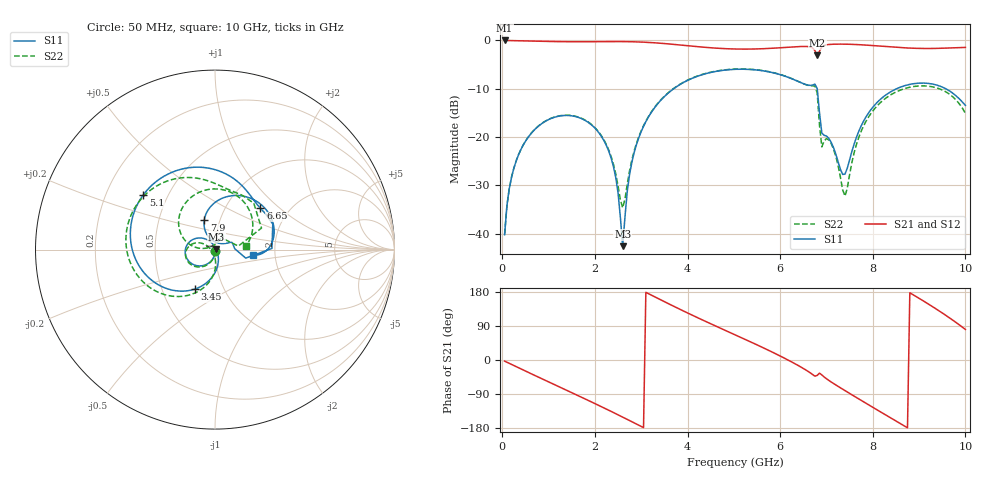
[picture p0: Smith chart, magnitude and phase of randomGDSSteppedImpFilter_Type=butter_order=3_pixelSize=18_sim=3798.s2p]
! freq	dB(S11)	phase(S11)	dB(S12)	phase(S12)
!  dB(S21)	phase(S21)	dB(S22)	phase(S22)
!S-par simulation data
#  GHz  S  DB  R 50
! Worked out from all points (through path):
!   200 points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, 50 MHz to 10 GHz, reference 50 ohm
!   highest |S21| = -0.02 dB at 50 MHz (marker M1); lowest = -3.1 dB at 6.8 GHz (marker M2)
!   group delay of S21, straight-line fit = 173 ps
!   lowest |S11| = -42.6 dB at 2.6 GHz (marker M3), VSWR 1.01, Z = 50.7 + j0.311 ohm
!   |S11| at or under -10 dB: start of sweep to 3.702 GHz; 6.8 GHz to 8.517 GHz (1.717 GHz wide, 22.4 % of centre); 9.573 GHz to end of sweep
!   |S22| runs from -40.2 to -5.9 dB; largest |S21 - S12| = 0
!   S11 on the Smith chart (normalised r, x): 50 MHz: 1.00, -0.02; 3.45 GHz: 0.73, -0.34; 5.1 GHz: 0.36, +0.30; 6.65 GHz: 1.45, +0.75; 7.9 GHz: 0.84, +0.29; 10 GHz: 1.53, -0.10
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0.05  -40.24 -86.8  -0.02 -3.0  -0.02 -3.0  -40.19 -86.8
0.2  -28.32 -97.8  -0.05 -11.7  -0.05 -11.7  -28.30 -96.8
0.55  -20.18 -121.1  -0.13 -32.0  -0.13 -32.0  -20.14 -118.5
1.75  -16.37 165.5  -0.29 -100.5  -0.29 -100.5  -16.31 176.4
2.35  -24.36 124.6  -0.25 -135.6  -0.25 -135.6  -24.04 153.1
2.6  -42.61 24.5  -0.25 -150.7  -0.25 -150.7  -34.67 -147.2
2.85  -23.13 -74.6  -0.30 -166.1  -0.30 -166.1  -22.81 -87.4
3.4  -12.64 -114.0  -0.58 160.0  -0.58 160.0  -12.56 -109.1
3.45  -12.12 -117.2  -0.62 157.0  -0.62 157.0  -12.05 -111.8
4.2  -7.48 -164.3  -1.29 112.6  -1.29 112.6  -7.42 -151.5
5.05  -5.99 145.6  -1.79 65.2  -1.79 65.2  -5.94 165.4
5.1  -5.98 142.7  -1.80 62.4  -1.80 62.4  -5.92 162.9
6  -7.09 88.3  -1.53 10.6  -1.53 10.6  -7.06 115.9
6.65  -9.32 42.3  -1.37 -33.9  -1.37 -33.9  -9.40 71.3
6.7  -9.24 35.5  -1.57 -38.4  -1.57 -38.4  -9.41 63.5
6.8  -9.97 1.2  -3.13 -40.7  -3.13 -40.7  -10.89 24.8
6.9  -19.17 2.7  -1.34 -39.3  -1.34 -39.3  -22.05 45.3
7.4  -27.68 82.3  -0.78 -80.8  -0.78 -80.8  -32.24 120.7
7.9  -15.15 110.1  -1.01 -117.6  -1.01 -117.6  -16.00 166.0
8.35  -10.86 82.8  -1.33 -150.1  -1.33 -150.1  -11.50 139.2
9.15  -8.87 30.9  -1.68 151.5  -1.68 151.5  -9.44 84.2
10  -13.45 -8.0  -1.46 80.7  -1.46 80.7  -15.11 7.4
